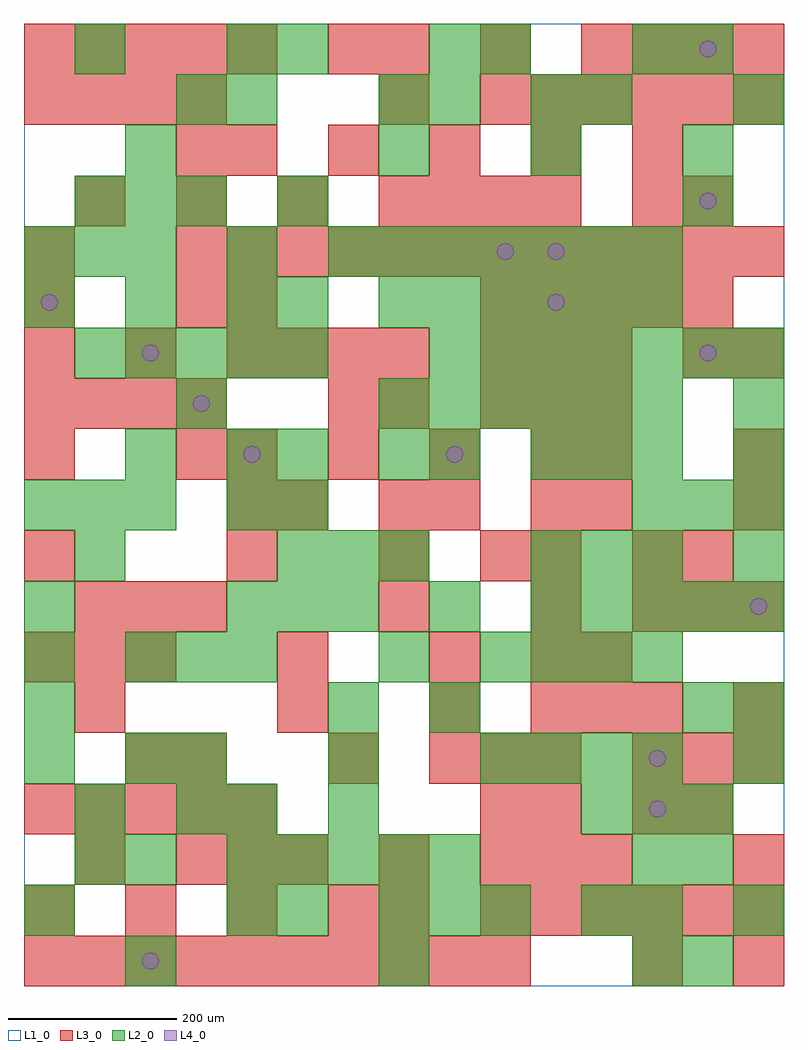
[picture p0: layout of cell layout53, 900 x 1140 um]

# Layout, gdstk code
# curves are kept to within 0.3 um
import gdstk
lib = gdstk.Library(unit=1e-6, precision=1e-09)
def R(c, l, rs):  # rectangles x0, y0, x1, y1
    for r in rs: c.add(gdstk.rectangle(r[:2], r[2:], *l))
def A(c, l, x, y, w, h, nx, ny, dx, dy):  # array of equal rectangles
    R(c, l, [(x+i*dx, y+j*dy, x+i*dx+w, y+j*dy+h) for i in range(nx) for j in range(ny)])
def P(c, l, *ps):  # polygons
    for p in ps: c.add(gdstk.Polygon(p, *l))
L1_0 = (1, 0)
L2_0 = (2, 0)
L3_0 = (3, 0)
L4_0 = (4, 0)

layout53 = lib.new_cell('layout53')
R(layout53, L1_0, [(0,0,900,1140)])
A(layout53, L2_0, 120, 0, 60, 60, 3, 1, 300, 0)
A(layout53, L2_0, 420, 60, 60, 60, 3, 1, 60, 0)
A(layout53, L2_0, 240, 120, 60, 60, 5, 1, 60, 0)
A(layout53, L2_0, 660, 180, 60, 60, 3, 1, 60, 0)
A(layout53, L2_0, 0, 240, 60, 60, 1, 4, 0, 60)
A(layout53, L2_0, 120, 240, 60, 60, 1, 3, 0, 360)
A(layout53, L2_0, 180, 240, 60, 60, 3, 1, 180, 0)
A(layout53, L2_0, 600, 240, 60, 60, 3, 2, 60, 240)
A(layout53, L2_0, 120, 360, 60, 60, 3, 1, 60, 0)
A(layout53, L2_0, 540, 360, 60, 60, 4, 1, 60, 0)
A(layout53, L2_0, 240, 420, 60, 60, 3, 1, 60, 0)
A(layout53, L2_0, 600, 420, 60, 60, 5, 1, 60, 0)
A(layout53, L2_0, 300, 480, 60, 60, 3, 1, 60, 0)
A(layout53, L2_0, 0, 540, 60, 60, 3, 2, 60, 300)
A(layout53, L2_0, 720, 540, 60, 60, 3, 1, 60, 0)
A(layout53, L2_0, 600, 600, 60, 60, 3, 1, 60, 0)
A(layout53, L2_0, 420, 660, 60, 60, 6, 2, 60, 120)
A(layout53, L2_0, 60, 720, 60, 60, 5, 1, 60, 0)
A(layout53, L2_0, 480, 720, 60, 60, 7, 1, 60, 0)
A(layout53, L2_0, 0, 780, 60, 60, 3, 1, 120, 0)
A(layout53, L2_0, 360, 840, 60, 60, 7, 1, 60, 0)
A(layout53, L2_0, 60, 900, 60, 60, 3, 1, 60, 0)
A(layout53, L2_0, 420, 960, 60, 60, 3, 1, 180, 0)
R(layout53, L2_0, [(780,0,840,60), (0,60,60,120), (240,60,300,120), (300,60,360,120), (660,60,720,120), (720,60,780,120), (840,60,900,120), (60,120,120,180), (120,120,180,180), (720,120,780,180), (780,120,840,180), (60,180,120,240), (180,180,240,240), (240,180,300,240), (360,180,420,240), (840,240,900,300), (360,300,420,360), (480,300,540,360), (780,300,840,360), (840,300,900,360), (420,360,480,420), (480,420,540,480), (60,480,120,540), (840,480,900,540), (240,540,300,600), (300,540,360,600), (240,600,300,660), (300,600,360,660), (420,600,480,660), (480,600,540,660), (840,600,900,660), (180,660,240,720), (840,660,900,720), (300,780,360,840), (240,840,300,900), (300,900,360,960), (780,900,840,960), (180,1020,240,1080), (240,1020,300,1080), (420,1020,480,1080), (480,1020,540,1080), (600,1020,660,1080), (660,1020,720,1080), (840,1020,900,1080), (60,1080,120,1140), (240,1080,300,1140), (300,1080,360,1140), (480,1080,540,1140), (540,1080,600,1140), (720,1080,780,1140), (780,1080,840,1140)])
A(layout53, L3_0, 0, 0, 60, 60, 10, 1, 60, 0)
A(layout53, L3_0, 0, 60, 60, 60, 4, 1, 120, 0)
A(layout53, L3_0, 540, 60, 60, 60, 6, 2, 60, 960)
A(layout53, L3_0, 180, 120, 60, 60, 3, 1, 60, 0)
A(layout53, L3_0, 540, 120, 60, 60, 3, 2, 60, 540)
A(layout53, L3_0, 0, 180, 60, 60, 5, 2, 60, 900)
A(layout53, L3_0, 360, 240, 60, 60, 1, 3, 0, 420)
A(layout53, L3_0, 480, 240, 60, 60, 3, 2, 60, 660)
A(layout53, L3_0, 720, 240, 60, 60, 3, 2, 60, 180)
A(layout53, L3_0, 600, 300, 60, 60, 3, 1, 60, 0)
A(layout53, L3_0, 0, 360, 60, 60, 3, 1, 60, 0)
A(layout53, L3_0, 600, 360, 60, 60, 1, 4, 0, 60)
A(layout53, L3_0, 60, 420, 60, 60, 3, 1, 60, 0)
A(layout53, L3_0, 420, 420, 60, 60, 1, 3, 0, 60)
A(layout53, L3_0, 180, 600, 60, 60, 1, 3, 0, 180)
A(layout53, L3_0, 240, 600, 60, 60, 4, 1, 120, 0)
A(layout53, L3_0, 0, 660, 60, 60, 4, 2, 60, 360)
A(layout53, L3_0, 0, 720, 60, 60, 3, 1, 120, 0)
A(layout53, L3_0, 300, 720, 60, 60, 3, 1, 60, 0)
A(layout53, L3_0, 540, 720, 60, 60, 3, 1, 60, 0)
A(layout53, L3_0, 540, 780, 60, 60, 5, 1, 60, 0)
A(layout53, L3_0, 180, 840, 60, 60, 12, 1, 60, 0)
A(layout53, L3_0, 60, 900, 60, 60, 4, 1, 120, 0)
A(layout53, L3_0, 240, 960, 60, 60, 5, 1, 120, 0)
A(layout53, L3_0, 420, 1080, 60, 60, 3, 1, 120, 0)
A(layout53, L3_0, 720, 1080, 60, 60, 3, 1, 60, 0)
R(layout53, L3_0, [(720,0,780,60), (840,0,900,60), (420,60,480,120), (60,120,120,180), (420,120,480,180), (840,120,900,180), (540,180,600,240), (600,180,660,240), (720,180,780,240), (780,180,840,240), (120,240,180,300), (180,240,240,300), (60,300,120,360), (300,300,360,360), (480,300,540,360), (840,300,900,360), (300,360,360,420), (480,360,540,420), (660,360,720,420), (0,480,60,540), (240,480,300,540), (540,480,600,540), (720,480,780,540), (780,480,840,540), (240,540,300,600), (300,540,360,600), (480,540,540,600), (660,540,720,600), (840,540,900,600), (0,600,60,660), (660,600,720,660), (840,600,900,660), (420,660,480,720), (780,720,840,780), (840,720,900,780), (0,780,60,840), (240,780,300,840), (0,840,60,900), (720,900,780,960), (780,900,840,960), (420,1020,480,1080)])
P(layout53, L4_0, [(40,810),(39.239,813.827),(37.071,817.071),(33.827,819.239),(30,820),(26.173,819.239),(22.929,817.071),(20.761,813.827),(20,810),(20.761,806.173),(22.929,802.929),(26.173,800.761),(30,800),(33.827,800.761),(37.071,802.929),(39.239,806.173)],
  [(160,30),(159.239,33.827),(157.071,37.071),(153.827,39.239),(150,40),(146.173,39.239),(142.929,37.071),(140.761,33.827),(140,30),(140.761,26.173),(142.929,22.929),(146.173,20.761),(150,20),(153.827,20.761),(157.071,22.929),(159.239,26.173)],
  [(160,750),(159.239,753.827),(157.071,757.071),(153.827,759.239),(150,760),(146.173,759.239),(142.929,757.071),(140.761,753.827),(140,750),(140.761,746.173),(142.929,742.929),(146.173,740.761),(150,740),(153.827,740.761),(157.071,742.929),(159.239,746.173)],
  [(220,690),(219.239,693.827),(217.071,697.071),(213.827,699.239),(210,700),(206.173,699.239),(202.929,697.071),(200.761,693.827),(200,690),(200.761,686.173),(202.929,682.929),(206.173,680.761),(210,680),(213.827,680.761),(217.071,682.929),(219.239,686.173)],
  [(280,630),(279.239,633.827),(277.071,637.071),(273.827,639.239),(270,640),(266.173,639.239),(262.929,637.071),(260.761,633.827),(260,630),(260.761,626.173),(262.929,622.929),(266.173,620.761),(270,620),(273.827,620.761),(277.071,622.929),(279.239,626.173)],
  [(520,630),(519.239,633.827),(517.071,637.071),(513.827,639.239),(510,640),(506.173,639.239),(502.929,637.071),(500.761,633.827),(500,630),(500.761,626.173),(502.929,622.929),(506.173,620.761),(510,620),(513.827,620.761),(517.071,622.929),(519.239,626.173)],
  [(580,870),(579.239,873.827),(577.071,877.071),(573.827,879.239),(570,880),(566.173,879.239),(562.929,877.071),(560.761,873.827),(560,870),(560.761,866.173),(562.929,862.929),(566.173,860.761),(570,860),(573.827,860.761),(577.071,862.929),(579.239,866.173)],
  [(640,810),(639.239,813.827),(637.071,817.071),(633.827,819.239),(630,820),(626.173,819.239),(622.929,817.071),(620.761,813.827),(620,810),(620.761,806.173),(622.929,802.929),(626.173,800.761),(630,800),(633.827,800.761),(637.071,802.929),(639.239,806.173)],
  [(640,870),(639.239,873.827),(637.071,877.071),(633.827,879.239),(630,880),(626.173,879.239),(622.929,877.071),(620.761,873.827),(620,870),(620.761,866.173),(622.929,862.929),(626.173,860.761),(630,860),(633.827,860.761),(637.071,862.929),(639.239,866.173)],
  [(760,210),(759.239,213.827),(757.071,217.071),(753.827,219.239),(750,220),(746.173,219.239),(742.929,217.071),(740.761,213.827),(740,210),(740.761,206.173),(742.929,202.929),(746.173,200.761),(750,200),(753.827,200.761),(757.071,202.929),(759.239,206.173)],
  [(760,270),(759.239,273.827),(757.071,277.071),(753.827,279.239),(750,280),(746.173,279.239),(742.929,277.071),(740.761,273.827),(740,270),(740.761,266.173),(742.929,262.929),(746.173,260.761),(750,260),(753.827,260.761),(757.071,262.929),(759.239,266.173)],
  [(820,750),(819.239,753.827),(817.071,757.071),(813.827,759.239),(810,760),(806.173,759.239),(802.929,757.071),(800.761,753.827),(800,750),(800.761,746.173),(802.929,742.929),(806.173,740.761),(810,740),(813.827,740.761),(817.071,742.929),(819.239,746.173)],
  [(820,930),(819.239,933.827),(817.071,937.071),(813.827,939.239),(810,940),(806.173,939.239),(802.929,937.071),(800.761,933.827),(800,930),(800.761,926.173),(802.929,922.929),(806.173,920.761),(810,920),(813.827,920.761),(817.071,922.929),(819.239,926.173)],
  [(820,1110),(819.239,1113.827),(817.071,1117.071),(813.827,1119.239),(810,1120),(806.173,1119.239),(802.929,1117.071),(800.761,1113.827),(800,1110),(800.761,1106.173),(802.929,1102.929),(806.173,1100.761),(810,1100),(813.827,1100.761),(817.071,1102.929),(819.239,1106.173)],
  [(880,450),(879.239,453.827),(877.071,457.071),(873.827,459.239),(870,460),(866.173,459.239),(862.929,457.071),(860.761,453.827),(860,450),(860.761,446.173),(862.929,442.929),(866.173,440.761),(870,440),(873.827,440.761),(877.071,442.929),(879.239,446.173)])

lib.write_gds('layout53.gds')
